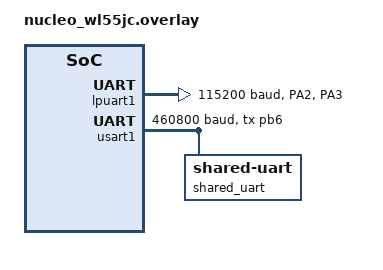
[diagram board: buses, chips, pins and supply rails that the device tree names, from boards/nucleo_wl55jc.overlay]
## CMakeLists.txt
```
cmake_minimum_required(VERSION 3.20.0)

find_package(Zephyr REQUIRED HINTS $ENV{ZEPHYR_BASE})
project(test_pokstepper)

target_include_directories(app PRIVATE src)

file(GLOB_RECURSE APP_SOURCES src/*.c)

target_sources(app PRIVATE ${APP_SOURCES})
```

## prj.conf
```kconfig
# SERIAL
CONFIG_SERIAL=y
CONFIG_LOG=y
CONFIG_UART_INTERRUPT_DRIVEN=y
CONFIG_DMA=y
CONFIG_UART_ASYNC_API=y

CONFIG_LOG_MODE_DEFERRED=y
# CONFIG_LOG_MODE_IMMEDIATE=y
CONFIG_LOG_BACKEND_SHOW_COLOR=y
CONFIG_LOG_DEFAULT_LEVEL=3
CONFIG_LOG_BUFFER_SIZE=8192

CONFIG_MAIN_STACK_SIZE=4096

CONFIG_POKSTEPPER=y

CONFIG_CBPRINTF_COMPLETE=y
CONFIG_CBPRINTF_FP_SUPPORT=y
```

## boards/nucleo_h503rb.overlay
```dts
&usart1 {
	status = "okay";
	dmas = <&gpdma1 1 22 (STM32_DMA_PERIPH_TX | STM32_DMA_PRIORITY_HIGH)
		&gpdma1 0 21 (STM32_DMA_PERIPH_RX | STM32_DMA_PRIORITY_HIGH)>;
	dma-names = "tx", "rx";
	pinctrl-0 = <&usart1_tx_pb14 &usart1_rx_pb15>;
	pinctrl-names = "default";
	current-speed = <115200>;

	uart_bus {
		compatible = "zephyr,uart-bus";
		status = "okay";

		stepper0:stepper0 {
			status = "okay";
			compatible = "adi,tmc2209-pokibot";
			counter = <&counter>;
			step-gpios = <&gpioc 6 GPIO_ACTIVE_HIGH>;
			dir-gpios = <&gpioc 7 GPIO_ACTIVE_HIGH>;

			address = <0>;
			micro-step-res = <256>;
			irun = <8>;
			ihold = <1>;
			iholddelay = <4>;
			sg-poll-period-ms = <2>;
			initial-sg-poll-period-ms = <10>;
			sg-nb-consecutive-trigger = <4>;
		};
	};
};

&timers2 {
	st,prescaler = <100>;
	status = "okay";
	counter: counter {
		status = "okay";
	};
};

&gpdma1 {
	status = "okay";
};
```

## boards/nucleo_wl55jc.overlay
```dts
&subghzspi {
	status = "disabled";
};

&pinctrl {
	/omit-if-no-ref/ lpuart1_tx_pa2_swapped: lpuart1_tx_pa2_swapped {
		pinmux = <STM32_PINMUX('A', 2, AF8)>;
		bias-pull-down;
	};

	/omit-if-no-ref/ lpuart1_rx_pa3_swapped: lpuart1_rx_pa3_swapped {
		pinmux = <STM32_PINMUX('A', 3, AF8)>;
		bias-pull-up;
	};
};


&lpuart1 {
	pinctrl-0 = <&lpuart1_tx_pa2_swapped &lpuart1_rx_pa3_swapped>;
	pinctrl-names = "default";
	tx-rx-swap;
	current-speed = <115200>;
	fifo-enable;
	status = "okay";
};

&usart1 {
	status = "okay";
	dmas = <&dmamux1 8 18 (STM32_DMA_PERIPH_TX | STM32_DMA_PRIORITY_HIGH)
		&dmamux1 1 17 (STM32_DMA_PERIPH_RX | STM32_DMA_PRIORITY_HIGH)>;
	dma-names = "tx", "rx";
	pinctrl-0 = <&usart1_tx_pb6>;
	pinctrl-1 = <&analog_pb6>;
	pinctrl-names = "default", "sleep";
	current-speed = <460800>;
	single-wire;

	shared_uart {
		compatible = "zephyr,shared-uart";
		status = "okay";

		stepper0:stepper0 {
			status = "okay";
			compatible = "adi,tmc2209-pokibot";
			en-gpios = <&gpiob 10 GPIO_ACTIVE_HIGH>;
			nstdby-gpios = <&gpiob 9 GPIO_ACTIVE_HIGH>;
			address = <0>;
			micro-step-res = <256>;
			irun = <31>;
			ihold = <0>;
			iholddelay = <4>;
		};
	};
};

&dma1 {
	status = "okay";
};

&dma2 {
	status = "okay";
};

&dmamux1 {
	status = "okay";
};
```

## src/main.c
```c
#include <zephyr/kernel.h>
#include <zephyr/logging/log.h>
#include <pokibot/drivers/pokstepper.h>

LOG_MODULE_REGISTER(main);

const struct device *stepper0 = DEVICE_DT_GET(DT_NODELABEL(stepper0));

int main(void)
{
    pokstepper_enable(stepper0, true);

    int ret = pokstepper_go_to_stall(stepper0, 500, 10000, 40);
    if (ret) {
        LOG_ERR("Go to stall failed error %d", ret);
    } else {
        int pos;
        pokstepper_get_pos(stepper0, &pos);
        LOG_ERR("Found stall at %d", pos);
    }

    int32_t speed = 10;
    int sleep_time = 1;
    for (int i=0; i < 5; i ++) {
        LOG_INF("Set speed +%d", speed);
        pokstepper_set_speed(stepper0, speed);
        k_sleep(K_SECONDS(sleep_time));
        LOG_INF("Set speed -%d", speed);
        pokstepper_set_speed(stepper0, -speed);
        k_sleep(K_SECONDS(sleep_time));
        speed *= 5;
    }
    LOG_INF("Set speed 0");
    pokstepper_set_speed(stepper0, 0);
    LOG_INF("CHECK LOW POWER MODE, as speed == 0 current must be at hold level");
    k_sleep(K_SECONDS(10));
    LOG_INF("END CHECK LOW POWER MODE");
    pokstepper_enable(stepper0, false);
    k_sleep(K_FOREVER);
    return 0;
}
```
